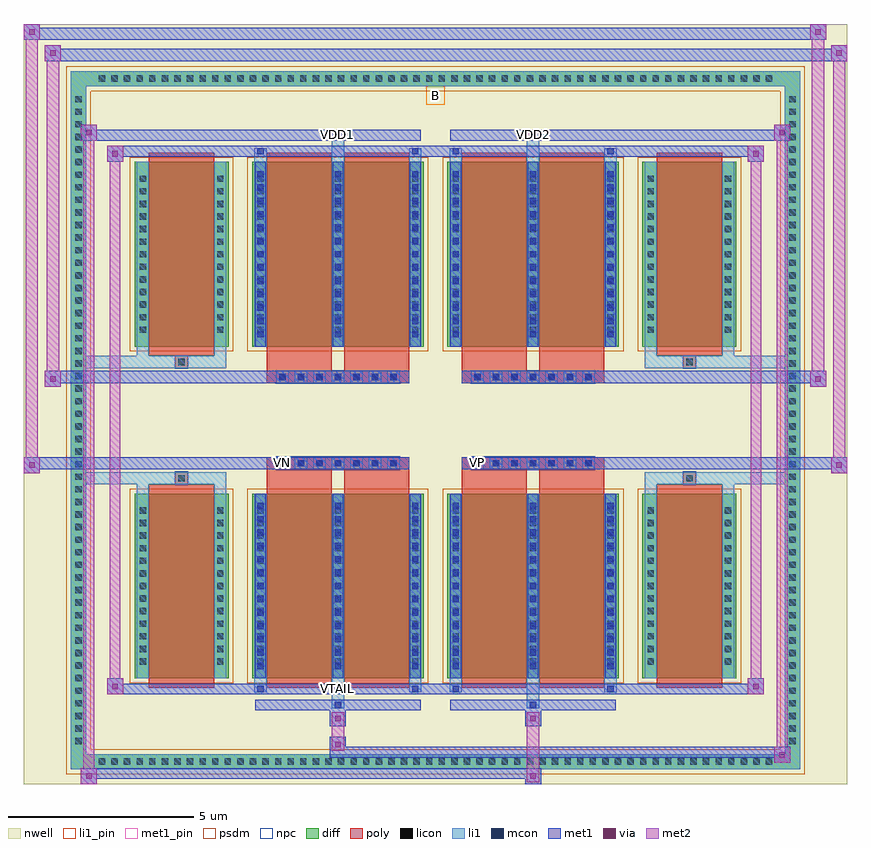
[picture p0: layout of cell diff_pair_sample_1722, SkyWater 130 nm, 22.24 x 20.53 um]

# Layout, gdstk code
import gdstk
lib = gdstk.Library(unit=1e-6, precision=5e-09)
def R(c, l, rs):  # rectangles x0, y0, x1, y1
    for r in rs: c.add(gdstk.rectangle(r[:2], r[2:], *l))
def A(c, l, x, y, w, h, nx, ny, dx, dy):  # array of equal rectangles
    R(c, l, [(x+i*dx, y+j*dy, x+i*dx+w, y+j*dy+h) for i in range(nx) for j in range(ny)])
def P(c, l, *ps):  # polygons
    for p in ps: c.add(gdstk.Polygon(p, *l))
nwell = (64, 20)
diff = (65, 20)
poly = (66, 20)
licon = (66, 44)
li1_pin = (67, 16)
li1 = (67, 20)
mcon = (67, 44)
met1_pin = (68, 16)
met1 = (68, 20)
via = (68, 44)
met2 = (69, 20)
psdm = (94, 20)
npc = (95, 20)

diff_pair_sample_1722 = lib.new_cell('diff_pair_sample_1722')
R(diff_pair_sample_1722, nwell, [(-11.12,-9.83,11.12,10.7), (-8.44,-8.02,-0.01,-0.8), (0.01,-8.02,8.44,-0.8), (-8.44,0.8,-0.01,8.02), (0.01,0.8,8.44,8.02)])
A(diff_pair_sample_1722, diff, -9.215, -9.43, 0.41, 0.41, 54, 2, 0.34, 18.45)
A(diff_pair_sample_1722, diff, -9.85, -8.875, 0.41, 0.41, 1, 52, 0, 0.34)
A(diff_pair_sample_1722, diff, 9.44, -8.875, 0.41, 0.41, 1, 52, 0, 0.34)
R(diff_pair_sample_1722, diff, [(-9.215,-9.43,9.215,-9.02), (-9.85,-8.875,-9.44,8.875), (9.44,-8.875,9.85,8.875), (-8.13,-6.975,-5.59,-1.985), (-4.95,-6.975,-0.32,-1.985), (0.32,-6.975,4.95,-1.985), (5.59,-6.975,8.13,-1.985), (-8.13,1.985,-5.59,6.975), (-4.95,1.985,-0.32,6.975), (0.32,1.985,4.95,6.975), (5.59,1.985,8.13,6.975), (-9.215,9.02,9.215,9.43)])
P(diff_pair_sample_1722, diff, [(9.85,9.43),(-9.85,9.43),(-9.85,-9.02),(-9.44,-9.02),(-9.44,9.02),(9.44,9.02),(9.44,-9.02),(-9.44,-9.02),(-9.85,-9.02),(-9.85,-9.43),(9.85,-9.43)])
A(diff_pair_sample_1722, poly, -4.3, -1.33, 0.33, 0.33, 7, 2, 0.5, 2.33)
A(diff_pair_sample_1722, poly, 0.97, -1.33, 0.33, 0.33, 7, 2, 0.5, 2.33)
R(diff_pair_sample_1722, poly, [(-7.74,-7.225,-5.98,-1.735), (-4.56,-7.225,-2.8,-1.735), (-2.47,-7.225,-0.71,-1.735), (0.71,-7.225,2.47,-1.735), (2.8,-7.225,4.56,-1.735), (5.98,-7.225,7.74,-1.735), (-7.025,-1.735,-6.695,-1.405), (-7.025,-1.735,-6.695,-1.405), (-4.56,-1.735,-2.8,-1.33), (-2.47,-1.735,-0.71,-1.33), (0.71,-1.735,2.47,-1.33), (2.8,-1.735,4.56,-1.33), (6.695,-1.735,7.025,-1.405), (6.695,-1.735,7.025,-1.405), (-4.56,-1.33,-0.71,-1), (0.71,-1.33,4.56,-1), (-4.56,1,-0.71,1.33), (0.71,1,4.56,1.33), (-4.56,1.33,-2.8,1.735), (-2.47,1.33,-0.71,1.735), (0.71,1.33,2.47,1.735), (2.8,1.33,4.56,1.735), (-7.025,1.405,-6.695,1.735), (-7.025,1.405,-6.695,1.735), (6.695,1.405,7.025,1.735), (6.695,1.405,7.025,1.735), (-7.74,1.735,-5.98,7.225), (-4.56,1.735,-2.8,7.225), (-2.47,1.735,-0.71,7.225), (0.71,1.735,2.47,7.225), (2.8,1.735,4.56,7.225), (5.98,1.735,7.74,7.225)])
A(diff_pair_sample_1722, licon, -9.095, -9.31, 0.17, 0.17, 54, 2, 0.34, 18.45)
A(diff_pair_sample_1722, licon, -9.73, -8.755, 0.17, 0.17, 1, 52, 0, 0.34)
A(diff_pair_sample_1722, licon, 9.56, -8.755, 0.17, 0.17, 1, 52, 0, 0.34)
A(diff_pair_sample_1722, licon, -7.99, -6.605, 0.17, 0.17, 1, 13, 0, 0.34)
A(diff_pair_sample_1722, licon, -5.9, -6.605, 0.17, 0.17, 1, 13, 0, 0.34)
A(diff_pair_sample_1722, licon, -4.81, -6.605, 0.17, 0.17, 3, 13, 2.09, 0.34)
A(diff_pair_sample_1722, licon, 0.46, -6.605, 0.17, 0.17, 3, 13, 2.09, 0.34)
A(diff_pair_sample_1722, licon, 5.73, -6.605, 0.17, 0.17, 1, 13, 0, 0.34)
A(diff_pair_sample_1722, licon, 7.82, -6.605, 0.17, 0.17, 1, 13, 0, 0.34)
A(diff_pair_sample_1722, licon, -4.22, -1.25, 0.17, 0.17, 7, 2, 0.5, 2.33)
A(diff_pair_sample_1722, licon, 1.05, -1.25, 0.17, 0.17, 7, 2, 0.5, 2.33)
A(diff_pair_sample_1722, licon, -7.99, 2.355, 0.17, 0.17, 1, 13, 0, 0.34)
A(diff_pair_sample_1722, licon, -5.9, 2.355, 0.17, 0.17, 1, 13, 0, 0.34)
A(diff_pair_sample_1722, licon, -4.81, 2.355, 0.17, 0.17, 3, 13, 2.09, 0.34)
A(diff_pair_sample_1722, licon, 0.46, 2.355, 0.17, 0.17, 3, 13, 2.09, 0.34)
A(diff_pair_sample_1722, licon, 5.73, 2.355, 0.17, 0.17, 1, 13, 0, 0.34)
A(diff_pair_sample_1722, licon, 7.82, 2.355, 0.17, 0.17, 1, 13, 0, 0.34)
R(diff_pair_sample_1722, licon, [(-6.945,-1.655,-6.775,-1.485), (6.775,-1.655,6.945,-1.485), (-6.945,1.485,-6.775,1.655), (6.775,1.485,6.945,1.655)])
R(diff_pair_sample_1722, li1_pin, [(-0.25,8.52,0.25,9.02)])
A(diff_pair_sample_1722, li1, -9.175, -9.39, 0.33, 0.33, 54, 2, 0.34, 18.45)
A(diff_pair_sample_1722, li1, -9.81, -8.835, 0.33, 0.33, 1, 52, 0, 0.34)
A(diff_pair_sample_1722, li1, 9.48, -8.835, 0.33, 0.33, 1, 52, 0, 0.34)
A(diff_pair_sample_1722, li1, -4.89, -6.975, 0.33, 4.99, 3, 2, 2.09, 8.96)
A(diff_pair_sample_1722, li1, 0.38, -6.975, 0.33, 4.99, 3, 2, 2.09, 8.96)
A(diff_pair_sample_1722, li1, -4.81, -6.725, 0.17, 0.17, 3, 13, 2.09, 0.36)
A(diff_pair_sample_1722, li1, -4.81, -6.725, 0.17, 4.49, 3, 2, 2.09, 8.96)
A(diff_pair_sample_1722, li1, 0.46, -6.725, 0.17, 0.17, 3, 13, 2.09, 0.36)
A(diff_pair_sample_1722, li1, 0.46, -6.725, 0.17, 4.49, 3, 2, 2.09, 8.96)
A(diff_pair_sample_1722, li1, -8.07, -6.685, 0.33, 0.33, 1, 13, 0, 0.34)
A(diff_pair_sample_1722, li1, -5.98, -6.685, 0.33, 0.33, 1, 13, 0, 0.34)
A(diff_pair_sample_1722, li1, -4.89, -6.685, 0.33, 0.33, 3, 13, 2.09, 0.34)
A(diff_pair_sample_1722, li1, 0.38, -6.685, 0.33, 0.33, 3, 13, 2.09, 0.34)
A(diff_pair_sample_1722, li1, 5.65, -6.685, 0.33, 0.33, 1, 13, 0, 0.34)
A(diff_pair_sample_1722, li1, 7.74, -6.685, 0.33, 0.33, 1, 13, 0, 0.34)
A(diff_pair_sample_1722, li1, -4.3, -1.33, 0.33, 0.33, 7, 2, 0.5, 2.33)
A(diff_pair_sample_1722, li1, 0.97, -1.33, 0.33, 0.33, 7, 2, 0.5, 2.33)
A(diff_pair_sample_1722, li1, -4.81, 2.235, 0.17, 0.17, 3, 13, 2.09, 0.36)
A(diff_pair_sample_1722, li1, 0.46, 2.235, 0.17, 0.17, 3, 13, 2.09, 0.36)
A(diff_pair_sample_1722, li1, -8.07, 2.275, 0.33, 0.33, 1, 13, 0, 0.34)
A(diff_pair_sample_1722, li1, -5.98, 2.275, 0.33, 0.33, 1, 13, 0, 0.34)
A(diff_pair_sample_1722, li1, -4.89, 2.275, 0.33, 0.33, 3, 13, 2.09, 0.34)
A(diff_pair_sample_1722, li1, 0.38, 2.275, 0.33, 0.33, 3, 13, 2.09, 0.34)
A(diff_pair_sample_1722, li1, 5.65, 2.275, 0.33, 0.33, 1, 13, 0, 0.34)
A(diff_pair_sample_1722, li1, 7.74, 2.275, 0.33, 0.33, 1, 13, 0, 0.34)
R(diff_pair_sample_1722, li1, [(-9.85,-9.43,-9.44,-9.02), (-9.85,-9.43,-9.44,-9.02), (-9.44,-9.43,9.44,-9.02), (9.44,-9.43,9.85,-9.02), (9.44,-9.43,9.85,-9.02), (-9.85,-9.02,-9.44,9.02), (9.44,-9.02,9.85,9.02), (-2.8,-7.78,-2.47,-6.975), (-2.72,-7.78,-2.55,-7.61), (2.47,-7.78,2.8,-6.975), (2.55,-7.78,2.72,-7.61), (-4.89,-7.35,-4.56,-6.975), (-4.81,-7.35,-4.64,-7.18), (-0.71,-7.35,-0.38,-6.975), (-0.63,-7.35,-0.46,-7.18), (0.38,-7.35,0.71,-6.975), (0.46,-7.35,0.63,-7.18), (4.56,-7.35,4.89,-6.975), (4.64,-7.35,4.81,-7.18), (-8.07,-6.975,-7.74,-1.985), (-5.98,-6.975,-5.65,-1.985), (5.65,-6.975,5.98,-1.985), (7.74,-6.975,8.07,-1.985), (-8.07,-1.985,-7.74,-1.405), (-5.98,-1.985,-5.65,-1.405), (5.65,-1.985,5.98,-1.405), (7.74,-1.985,8.07,-1.405), (-9.85,-1.735,-7.025,-1.405), (-8.07,-1.735,-7.025,-1.405), (-7.025,-1.735,-6.695,-1.405), (-6.695,-1.735,-5.65,-1.405), (5.65,-1.735,6.695,-1.405), (6.695,-1.735,7.025,-1.405), (6.695,-1.735,9.85,-1.405), (7.025,-1.735,8.07,-1.405), (-9.85,1.405,-7.025,1.735), (-8.07,1.405,-7.025,1.735), (-8.07,1.405,-7.74,1.985), (-7.025,1.405,-6.695,1.735), (-6.695,1.405,-5.65,1.735), (-5.98,1.405,-5.65,1.985), (5.65,1.405,6.695,1.735), (5.65,1.405,5.98,1.985), (6.695,1.405,7.025,1.735), (6.695,1.405,9.85,1.735), (7.025,1.405,8.07,1.735), (7.74,1.405,8.07,1.985), (-8.07,1.985,-7.74,6.975), (-5.98,1.985,-5.65,6.975), (5.65,1.985,5.98,6.975), (7.74,1.985,8.07,6.975), (-4.89,6.975,-4.56,7.35), (-2.8,6.975,-2.47,7.78), (-0.71,6.975,-0.38,7.35), (0.38,6.975,0.71,7.35), (2.47,6.975,2.8,7.78), (4.56,6.975,4.89,7.35), (-4.81,7.18,-4.64,7.35), (-0.63,7.18,-0.46,7.35), (0.46,7.18,0.63,7.35), (4.64,7.18,4.81,7.35), (-2.72,7.61,-2.55,7.78), (2.55,7.61,2.72,7.78), (-9.85,9.02,-9.44,9.43), (-9.85,9.02,-9.44,9.43), (-9.44,9.02,9.44,9.43), (9.44,9.02,9.85,9.43), (9.44,9.02,9.85,9.43)])
A(diff_pair_sample_1722, mcon, -4.81, -6.725, 0.17, 0.17, 3, 13, 2.09, 0.36)
A(diff_pair_sample_1722, mcon, 0.46, -6.725, 0.17, 0.17, 3, 13, 2.09, 0.36)
A(diff_pair_sample_1722, mcon, -4.22, -1.25, 0.17, 0.17, 7, 2, 0.5, 2.33)
A(diff_pair_sample_1722, mcon, 1.05, -1.25, 0.17, 0.17, 7, 2, 0.5, 2.33)
A(diff_pair_sample_1722, mcon, -4.81, 2.235, 0.17, 0.17, 3, 13, 2.09, 0.36)
A(diff_pair_sample_1722, mcon, 0.46, 2.235, 0.17, 0.17, 3, 13, 2.09, 0.36)
R(diff_pair_sample_1722, mcon, [(-2.72,-7.78,-2.55,-7.61), (2.55,-7.78,2.72,-7.61), (-4.81,-7.35,-4.64,-7.18), (-0.63,-7.35,-0.46,-7.18), (0.46,-7.35,0.63,-7.18), (4.64,-7.35,4.81,-7.18), (-4.81,7.18,-4.64,7.35), (-0.63,7.18,-0.46,7.35), (0.46,7.18,0.63,7.35), (4.64,7.18,4.81,7.35), (-2.72,7.61,-2.55,7.78), (2.55,7.61,2.72,7.78)])
R(diff_pair_sample_1722, met1_pin, [(-2.77,-7.39,-2.5,-7.12), (-4.27,-1.29,-4,-1.02), (1,-1.29,1.27,-1.02), (-2.77,7.57,-2.5,7.84), (2.5,7.57,2.77,7.84)])
A(diff_pair_sample_1722, met1, -4.87, -6.975, 0.29, 4.99, 3, 2, 2.09, 8.96)
A(diff_pair_sample_1722, met1, 0.4, -6.975, 0.29, 4.99, 3, 2, 2.09, 8.96)
A(diff_pair_sample_1722, met1, -4.87, -6.785, 0.29, 0.29, 3, 13, 2.09, 0.36)
A(diff_pair_sample_1722, met1, 0.4, -6.785, 0.29, 0.29, 3, 13, 2.09, 0.36)
A(diff_pair_sample_1722, met1, -4.28, -1.31, 0.29, 0.29, 7, 2, 0.5, 2.33)
A(diff_pair_sample_1722, met1, 0.99, -1.31, 0.29, 0.29, 7, 2, 0.5, 2.33)
A(diff_pair_sample_1722, met1, -4.87, 2.175, 0.29, 0.29, 3, 13, 2.09, 0.36)
A(diff_pair_sample_1722, met1, 0.4, 2.175, 0.29, 0.29, 3, 13, 2.09, 0.36)
R(diff_pair_sample_1722, met1, [(-9.58,-9.83,-9.15,-9.4), (2.42,-9.83,2.85,-9.4), (-9.58,-9.69,2.85,-9.4), (9.15,-9.26,9.58,-8.83), (-2.85,-9.12,9.58,-8.83), (-2.85,-8.98,-2.42,-8.55), (-2.85,-8.27,-2.42,-7.84), (2.42,-8.27,2.85,-7.84), (-4.87,-7.84,-0.4,-7.55), (-2.78,-7.84,-2.49,-7.55), (0.4,-7.84,4.87,-7.55), (2.49,-7.84,2.78,-7.55), (-8.87,-7.41,-8.44,-6.98), (-8.87,-7.41,-4.87,-7.12), (-4.87,-7.41,-4.58,-7.12), (-4.87,-7.41,-0.4,-7.12), (-0.69,-7.41,-0.4,-7.12), (-0.4,-7.41,0.4,-7.12), (0.4,-7.41,0.69,-7.12), (0.4,-7.41,4.87,-7.12), (4.58,-7.41,4.87,-7.12), (4.87,-7.41,8.87,-7.12), (8.44,-7.41,8.87,-6.98), (-11.12,-1.43,-10.69,-1), (10.69,-1.43,11.12,-1), (-11.12,-1.33,-0.71,-1), (-4.56,-1.33,-0.71,-1), (0.71,-1.33,4.56,-1), (0.71,-1.33,11.12,-1), (-10.55,0.9,-10.12,1.33), (10.12,0.9,10.55,1.33), (-10.55,1,-4.56,1.33), (-4.56,1,-0.71,1.33), (0.71,1,4.56,1.33), (4.56,1,10.55,1.33), (-8.87,6.98,-8.44,7.41), (8.44,6.98,8.87,7.41), (-8.87,7.12,-4.87,7.41), (-4.87,7.12,-4.58,7.41), (-4.87,7.12,-0.4,7.41), (-0.69,7.12,-0.4,7.41), (-0.4,7.12,0.4,7.41), (0.4,7.12,0.69,7.41), (0.4,7.12,4.87,7.41), (4.58,7.12,4.87,7.41), (4.87,7.12,8.87,7.41), (-9.58,7.55,-9.15,7.98), (-9.58,7.55,-4.87,7.84), (-4.87,7.55,-0.4,7.84), (-2.78,7.55,-2.49,7.84), (0.4,7.55,4.87,7.84), (2.49,7.55,2.78,7.84), (4.87,7.55,9.58,7.84), (9.15,7.55,9.58,7.98), (-10.55,9.7,-10.12,10.13), (-10.55,9.7,-8.44,10.03), (-8.44,9.7,8.44,10.03), (8.44,9.7,11.12,10.03), (10.69,9.7,11.12,10.13), (-11.12,10.27,-10.69,10.7), (-11.12,10.27,-8.44,10.6), (-8.44,10.27,8.44,10.6), (8.44,10.27,10.55,10.6), (10.12,10.27,10.55,10.7)])
R(diff_pair_sample_1722, via, [(-9.44,-9.69,-9.29,-9.54), (2.56,-9.69,2.71,-9.54), (9.29,-9.12,9.44,-8.97), (-2.71,-8.84,-2.56,-8.69), (-2.71,-8.13,-2.56,-7.98), (2.56,-8.13,2.71,-7.98), (-8.73,-7.27,-8.58,-7.12), (8.58,-7.27,8.73,-7.12), (-10.98,-1.29,-10.83,-1.14), (10.83,-1.29,10.98,-1.14), (-10.41,1.04,-10.26,1.19), (10.26,1.04,10.41,1.19), (-8.73,7.12,-8.58,7.27), (8.58,7.12,8.73,7.27), (-9.44,7.69,-9.29,7.84), (9.29,7.69,9.44,7.84), (-10.41,9.84,-10.26,9.99), (10.83,9.84,10.98,9.99), (-10.98,10.41,-10.83,10.56), (10.26,10.41,10.41,10.56)])
R(diff_pair_sample_1722, met2, [(-9.58,-9.83,-9.15,-9.4), (-9.51,-9.83,-9.22,7.98), (-9.22,-9.83,-9.15,-9.4), (-9.53,-9.78,-9.2,-9.45), (2.47,-9.78,2.8,-9.45), (2.47,-9.45,2.8,-8.22), (9.15,-9.26,9.58,-8.83), (9.22,-9.26,9.51,7.98), (9.51,-9.26,9.58,-8.83), (9.2,-9.21,9.53,-8.88), (-2.8,-8.93,-2.47,-8.6), (-2.8,-8.6,-2.47,-8.22), (-2.8,-8.22,-2.47,-7.89), (2.47,-8.22,2.8,-7.89), (-8.87,-7.41,-8.44,-6.98), (-8.8,-7.41,-8.51,7.41), (-8.51,-7.41,-8.44,-6.98), (8.44,-7.41,8.87,-6.98), (8.51,-7.41,8.8,7.41), (8.8,-7.41,8.87,-6.98), (-8.82,-7.36,-8.49,-7.03), (8.49,-7.36,8.82,-7.03), (-11.12,-1.43,-10.69,-1), (-11.07,-1.43,-10.74,10.7), (-10.74,-1.43,-10.69,-1), (10.69,-1.43,11.12,-1), (10.74,-1.43,11.07,10.13), (11.07,-1.43,11.12,-1), (-11.07,-1.38,-10.74,-1.05), (10.74,-1.38,11.07,-1.05), (-10.55,0.9,-10.12,1.33), (-10.5,0.9,-10.17,10.13), (-10.17,0.9,-10.12,1.33), (10.12,0.9,10.55,1.33), (10.17,0.9,10.5,10.7), (10.5,0.9,10.55,1.33), (-10.5,0.95,-10.17,1.28), (10.17,0.95,10.5,1.28), (-8.87,6.98,-8.44,7.41), (-8.51,6.98,-8.44,7.41), (8.44,6.98,8.87,7.41), (8.8,6.98,8.87,7.41), (-8.82,7.03,-8.49,7.36), (8.49,7.03,8.82,7.36), (-9.58,7.55,-9.15,7.98), (-9.22,7.55,-9.15,7.98), (9.15,7.55,9.58,7.98), (9.51,7.55,9.58,7.98), (-9.53,7.6,-9.2,7.93), (9.2,7.6,9.53,7.93), (-10.55,9.7,-10.12,10.13), (-10.17,9.7,-10.12,10.13), (10.69,9.7,11.12,10.13), (11.07,9.7,11.12,10.13), (-10.5,9.75,-10.17,10.08), (10.74,9.75,11.07,10.08), (-11.12,10.27,-10.69,10.7), (-10.74,10.27,-10.69,10.7), (10.12,10.27,10.55,10.7), (10.5,10.27,10.55,10.7), (-11.07,10.32,-10.74,10.65), (10.17,10.32,10.5,10.65)])
R(diff_pair_sample_1722, psdm, [(-8.26,-7.105,-5.46,-1.855), (-5.08,-7.105,-0.19,-1.855), (0.19,-7.105,5.08,-1.855), (5.46,-7.105,8.26,-1.855), (-8.26,1.855,-5.46,7.105), (-5.08,1.855,-0.19,7.105), (0.19,1.855,5.08,7.105), (5.46,1.855,8.26,7.105)])
P(diff_pair_sample_1722, psdm, [(9.98,9.56),(-9.98,9.56),(-9.98,-8.89),(-9.31,-8.89),(-9.31,8.89),(9.31,8.89),(9.31,-8.89),(-9.31,-8.89),(-9.98,-8.89),(-9.98,-9.56),(9.98,-9.56)])
A(diff_pair_sample_1722, npc, -4.32, -1.35, 0.37, 0.37, 7, 2, 0.5, 2.33)
A(diff_pair_sample_1722, npc, 0.95, -1.35, 0.37, 0.37, 7, 2, 0.5, 2.33)
R(diff_pair_sample_1722, npc, [(-7.045,-1.755,-6.675,-1.385), (6.675,-1.755,7.045,-1.385), (-4.32,-1.35,-3.45,-0.98), (-4.32,-1.35,-3.45,-0.98), (-3.82,-1.35,-2.95,-0.98), (-3.82,-1.35,-2.95,-0.98), (-3.32,-1.35,-2.45,-0.98), (-3.32,-1.35,-2.45,-0.98), (-2.82,-1.35,-1.95,-0.98), (-2.82,-1.35,-1.95,-0.98), (-2.32,-1.35,-1.45,-0.98), (-2.32,-1.35,-1.45,-0.98), (-1.82,-1.35,-0.95,-0.98), (-1.82,-1.35,-0.95,-0.98), (0.95,-1.35,1.82,-0.98), (0.95,-1.35,1.82,-0.98), (1.45,-1.35,2.32,-0.98), (1.45,-1.35,2.32,-0.98), (1.95,-1.35,2.82,-0.98), (1.95,-1.35,2.82,-0.98), (2.45,-1.35,3.32,-0.98), (2.45,-1.35,3.32,-0.98), (2.95,-1.35,3.82,-0.98), (2.95,-1.35,3.82,-0.98), (3.45,-1.35,4.32,-0.98), (3.45,-1.35,4.32,-0.98), (-4.32,0.98,-3.45,1.35), (-4.32,0.98,-3.45,1.35), (-3.82,0.98,-2.95,1.35), (-3.82,0.98,-2.95,1.35), (-3.32,0.98,-2.45,1.35), (-3.32,0.98,-2.45,1.35), (-2.82,0.98,-1.95,1.35), (-2.82,0.98,-1.95,1.35), (-2.32,0.98,-1.45,1.35), (-2.32,0.98,-1.45,1.35), (-1.82,0.98,-0.95,1.35), (-1.82,0.98,-0.95,1.35), (0.95,0.98,1.82,1.35), (0.95,0.98,1.82,1.35), (1.45,0.98,2.32,1.35), (1.45,0.98,2.32,1.35), (1.95,0.98,2.82,1.35), (1.95,0.98,2.82,1.35), (2.45,0.98,3.32,1.35), (2.45,0.98,3.32,1.35), (2.95,0.98,3.82,1.35), (2.95,0.98,3.82,1.35), (3.45,0.98,4.32,1.35), (3.45,0.98,4.32,1.35), (-7.045,1.385,-6.675,1.755), (6.675,1.385,7.045,1.755)])
diff_pair_sample_1722.add(gdstk.Label('VTAIL', (-2.635,-7.255), layer=68, texttype=5))
diff_pair_sample_1722.add(gdstk.Label('VN', (-4.135,-1.155), layer=68, texttype=5))
diff_pair_sample_1722.add(gdstk.Label('VP', (1.135,-1.155), layer=68, texttype=5))
diff_pair_sample_1722.add(gdstk.Label('B', (0,8.77), layer=67, texttype=5))
diff_pair_sample_1722.add(gdstk.Label('VDD2', (2.635,7.705), layer=68, texttype=5))
diff_pair_sample_1722.add(gdstk.Label('VDD1', (-2.635,7.705), layer=68, texttype=5))

lib.write_gds('diff_pair_sample_1722.gds')
